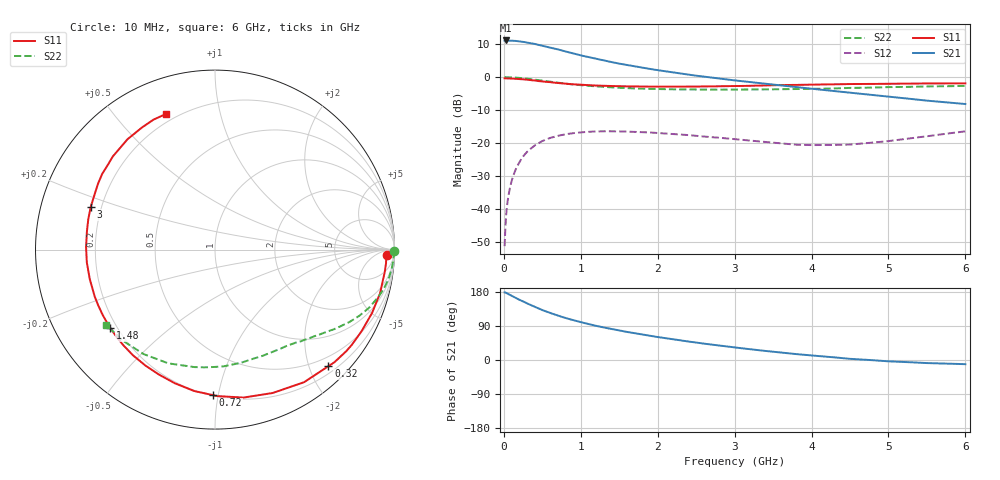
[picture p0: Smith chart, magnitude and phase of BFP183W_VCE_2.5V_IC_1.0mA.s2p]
! Infineon Technologies  Discrete & RF Semiconductors
! BFP183W
! VCE = 2.5 V,  IC =  1.0 mA
! Common Emitter S-Parameters:  Jan 2016
# GHz  S  MA  R  50
!  f  S11  S21  S12  S22
! GHz  MAG  ANG  MAG  ANG  MAG  ANG  MAG  ANG
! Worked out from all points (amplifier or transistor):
!   210 points, 10 MHz to 6 GHz, reference 50 ohm
!   highest |S21| = 11.1 dB at 30 MHz (marker M1)
!   |S21| within 3 dB of that: start of sweep to 745.7 MHz
!   unconditionally stable (mu >= 1): 2.705 GHz to end of sweep
!   at 185 MHz: K = 0.08, MSG = 18.7 dB, |S12| = -26.6 dB
!   at 1.52 GHz: K = 0.55, MSG = 10.3 dB, |S12| = -16.5 dB
!   at 6 GHz: K = 1.12, MAG = 2.0 dB, |S12| = -16.5 dB
!   S11 on the Smith chart (normalised r, x): 10 MHz: 31, -21; 320 MHz: 0.32, -2.33; 720 MHz: 0.20, -0.97; 1.48 GHz: 0.17, -0.32; 3 GHz: 0.16, +0.16; 6 GHz: 0.16, +0.69
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0.01  0.9571 -1.7  3.574 178.3  0.0027 87.9  0.9993 -0.6
0.015  0.9559 -2.4  3.586 178.2  0.0039 85.0  0.9972 -0.8
0.03  0.9559 -4.5  3.604 177.1  0.008 88.6  0.9971 -1.7
0.06  0.9522 -8.9  3.59 173.9  0.0158 83.3  0.9944 -3.4
0.125  0.9455 -18.4  3.556 167.1  0.0323 78.4  0.9875 -7.0
0.2  0.9346 -29.2  3.491 159.1  0.0503 72.2  0.9741 -11.1
0.32  0.9062 -45.8  3.312 147.7  0.0764 61.9  0.9411 -17.0
0.4  0.89 -56.1  3.194 140.4  0.0912 56.0  0.9167 -20.8
0.5  0.8611 -68.1  2.998 131.8  0.1068 49.4  0.885 -24.6
0.6  0.8395 -79.1  2.813 124.3  0.1188 43.2  0.8525 -28.1
0.72  0.8106 -90.8  2.6 116.0  0.1296 37.0  0.818 -31.6
0.9  0.7774 -106.8  2.3 105.0  0.1408 28.8  0.7729 -36.3
1.02  0.7603 -115.5  2.113 98.9  0.1452 24.1  0.7503 -39.1
1.2  0.7454 -127.8  1.893 90.1  0.1496 17.9  0.723 -42.9
1.48  0.7283 -143.2  1.619 78.9  0.1495 10.8  0.6903 -48.3
2.02  0.7163 -167.4  1.265 60.0  0.1412 1.8  0.658 -58.1
2.4  0.7185 178.9  1.089 48.7  0.1315 -2.4  0.6492 -65.5
3  0.7322 161.0  0.892 33.0  0.1138 -3.9  0.6471 -77.4
3.1  0.734 158.4  0.866 30.8  0.1111 -3.3  0.647 -79.5
4.1  0.7716 135.8  0.648 10.3  0.0928 11.1  0.6662 -102.5
5.1  0.7937 119.9  0.492 -4.3  0.1104 30.1  0.7063 -126.6
6  0.8038 109.7  0.39 -11.0  0.1499 35.7  0.7362 -145.2
